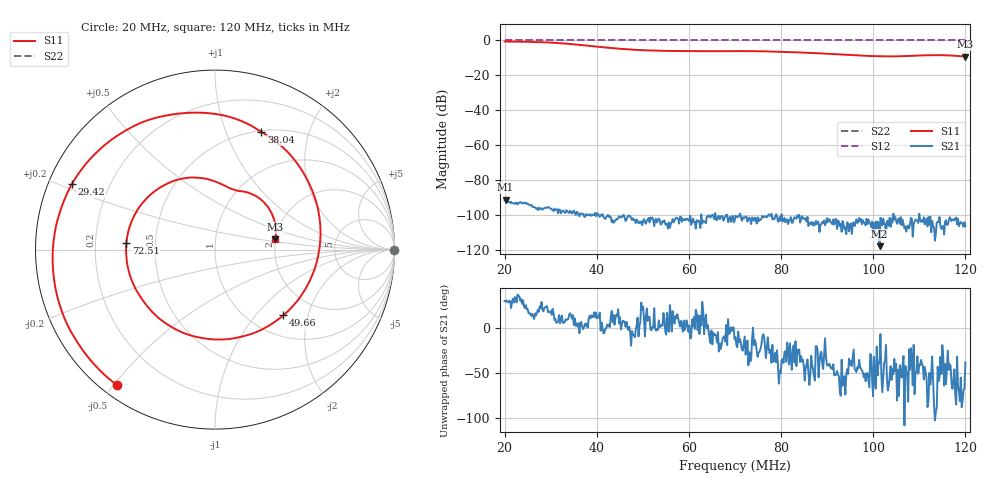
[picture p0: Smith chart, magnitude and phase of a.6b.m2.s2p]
! Anritsu VNA Master:  Model: MS2036C/10/77
! SN:  1601066
! /bd0/18may07/256.ns.m2.s2p
! Existing Calibration Information:
! TYPE:  Current Settings,  Active Cal Settings
! TIME:  05/07/2018 03:01:25 PM,  05/07/2018 02:58:54 PM
! INTERNAL TEMP:  59.0 C,  58.8 C
! # POINTS:  500,  500
! START FREQ:  20.000 MHz,  20.000 MHz
! STOP FREQ:  120.000 MHz,  120.000 MHz
! SOURCE POWER:  High,  High
! IFBW:  50 Hz,  50 Hz
! AVG FACTOR:  1 ,  1
! REF PLANE 1:  0 mm,  0 mm
! REF PLANE 2:  0 mm,  0 mm
! CAL TYPE:  Full S11,  Full S11
! CAL METHOD:  SOLT,  SOLT
! CAL LINE TYPE:  Coax,  Coax
! DUT PORT 1:  K-Conn(F),  K-Conn(F)
! DUT PORT 2:  K-Conn(F),  K-Conn(F)
! CAL STATUS:  OK: Accuracy High,  --
# GHZ S DB R 50.0
! FREQ.GHZ  S11DB  S11A  S21DB  S21A  S12DB  S12A  S22DB  S22A
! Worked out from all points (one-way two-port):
!   500 points, 20 MHz to 120 MHz, reference 50 ohm
!   highest |S21| = -91.19 dB at 20.2 MHz (marker M1); lowest = -117.9 dB at 101.4 MHz (marker M2)
!   lowest |S11| = -9.4 dB at 120 MHz (marker M3), VSWR 2.03, Z = 99.4 + j12.7 ohm
!   |S11| at or under -10 dB: nowhere
!   |S22| runs from 0.0 to 0.0 dB; largest |S21 - S12| = 1
!   S11 on the Smith chart (normalised r, x): 20 MHz: 0.04, -0.51; 29.42 MHz: 0.07, +0.22; 38.04 MHz: 0.51, +1.34; 49.66 MHz: 1.39, -1.42; 72.51 MHz: 0.34, +0.03; 120 MHz: 1.99, +0.25
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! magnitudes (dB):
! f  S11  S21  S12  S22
! 20 MHz  -0.6  -91.6  0.0  0.0
! 20.2 MHz  -0.6  -91.2  0.0  0.0
! 25.01 MHz  -0.8  -93.5  0.0  0.0
! 29.42 MHz  -1.1  -95.4  0.0  0.0
! 33.03 MHz  -1.7  -98.7  0.0  0.0
! 36.83 MHz  -2.6  -99.3  0.0  0.0
! 38.04 MHz  -3.0  -99.9  0.0  0.0
! 44.85 MHz  -4.7  -100.8  0.0  0.0
! 49.66 MHz  -5.5  -103.8  0.0  0.0
! 53.47 MHz  -5.9  -102.1  0.0  0.0
! 63.69 MHz  -6.2  -104.7  0.0  0.0
! 70.1 MHz  -6.1  -100.5  0.0  0.0
! 72.51 MHz  -6.1  -101.1  0.0  0.0
! 78.52 MHz  -6.4  -102.5  0.0  0.0
! 86.73 MHz  -7.2  -105.8  0.0  0.0
! 96.55 MHz  -8.6  -104.7  0.0  0.0
! 101.4 MHz  -9.1  -117.9  0.0  0.0
! 103.4 MHz  -9.1  -106.2  0.0  0.0
! 111.6 MHz  -8.5  -102.2  0.0  0.0
! 114.2 MHz  -8.4  -104.1  0.0  0.0
! 117.2 MHz  -8.7  -102.8  0.0  0.0
! 120 MHz  -9.4  -106.4  0.0  0.0
